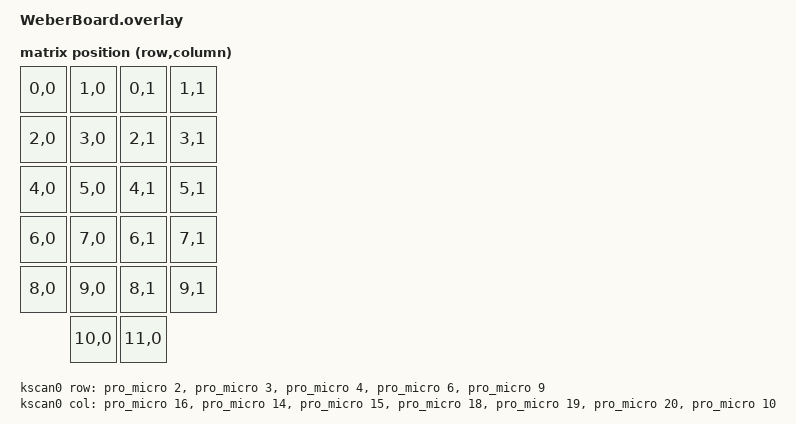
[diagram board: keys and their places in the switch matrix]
/ {
    chosen {
        zmk,kscan = &kscan0;
        zmk,matrix-transform = &default_transform;
    };

   kscan0: kscan {
        compatible = "zmk,kscan-gpio-matrix";
        diode-direction = "col2row";

        row-gpios = <&pro_micro 2 (GPIO_ACTIVE_HIGH | GPIO_PULL_DOWN)>,
                    <&pro_micro 3 (GPIO_ACTIVE_HIGH | GPIO_PULL_DOWN)>,
                    <&pro_micro 4 (GPIO_ACTIVE_HIGH | GPIO_PULL_DOWN)>,
                    <&pro_micro 6 (GPIO_ACTIVE_HIGH | GPIO_PULL_DOWN)>,
                    <&pro_micro 9 (GPIO_ACTIVE_HIGH | GPIO_PULL_DOWN)>;
        
        col-gpios = <&pro_micro 16 (GPIO_ACTIVE_HIGH | GPIO_PULL_DOWN)>,
                    <&pro_micro 14 (GPIO_ACTIVE_HIGH | GPIO_PULL_DOWN)>,
                    <&pro_micro 15 (GPIO_ACTIVE_HIGH | GPIO_PULL_DOWN)>,
                    <&pro_micro 18 (GPIO_ACTIVE_HIGH | GPIO_PULL_DOWN)>,
                    <&pro_micro 19 (GPIO_ACTIVE_HIGH | GPIO_PULL_DOWN)>,
                    <&pro_micro 20 (GPIO_ACTIVE_HIGH | GPIO_PULL_DOWN)>,
                    <&pro_micro 10 (GPIO_ACTIVE_HIGH | GPIO_PULL_DOWN)>;
    };

    default_transform: matrix_transform {
        compatible = "zmk,matrix-transform";
        rows = <5>;
        columns = <5>;

         map = <
            RC(0,0) RC(1,0) RC(0,1) RC(1,1)       // ...
            RC(2,0) RC(3,0) RC(2,1) RC(3,1)       // ...
            RC(4,0)   RC(5,0) RC(4,1) RC(5,1)     // ...
            RC(6,0)     RC(7,0) RC(6,1) RC(7,1)   // ...
            RC(8,0)       RC(9,0) RC(8,1) RC(9,1) // ...
            RC(10,0) RC(11,0)                     // ...
        >;
    };
};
